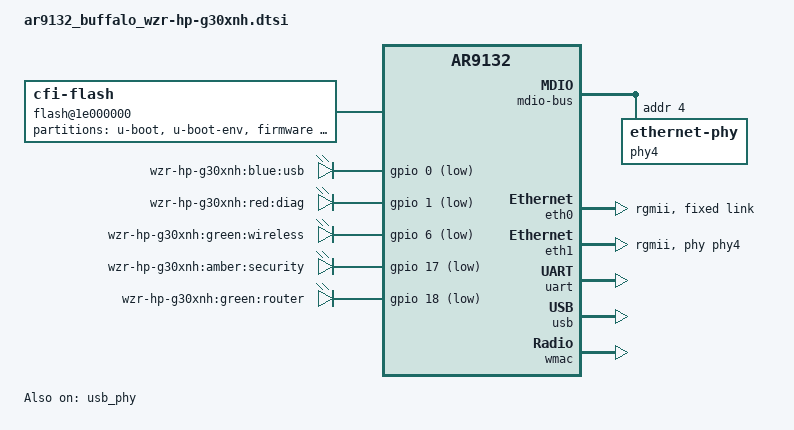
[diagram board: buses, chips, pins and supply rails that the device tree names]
// SPDX-License-Identifier: GPL-2.0
/dts-v1/;

#include <dt-bindings/gpio/gpio.h>
#include <dt-bindings/input/input.h>

#include "ar9132.dtsi"

/ {
	aliases {
		led-boot = &diag;
		led-failsafe = &diag;
		led-upgrade = &diag;
	};

	flash@1e000000 {
		compatible = "cfi-flash";
		reg = <0x1e000000 0x2000000>;
		bank-width = <2>;
		device-width = <2>;

		partitions {
			compatible = "fixed-partitions";
			#address-cells = <1>;
			#size-cells = <1>;

			partition@0 {
				label = "u-boot";
				reg = <0x0000000 0x0040000>;
				read-only;
			};

			partition@40000 {
				label = "u-boot-env";
				reg = <0x0040000 0x0020000>;
			};

			partition@60000 {
				compatible = "denx,uimage";
				label = "firmware";
				reg = <0x0060000 0x1f60000>;
			};

			partition@1fc0000 {
				label = "user_property";
				reg = <0x1fc0000 0x0020000>;
				read-only;
			};

			art: partition@1fe0000 {
				label = "art";
				reg = <0x1fe0000 0x020000>;
				read-only;
			};
		};
	};

	leds {
		compatible = "gpio-leds";

		usb {
			label = "wzr-hp-g30xnh:blue:usb";
			gpios = <&gpio 0 GPIO_ACTIVE_LOW>;
			trigger-sources = <&hub_port>;
			linux,default-trigger = "usbport";
		};

		diag: diag {
			label = "wzr-hp-g30xnh:red:diag";
			gpios = <&gpio 1 GPIO_ACTIVE_LOW>;
		};

		wireless {
			label = "wzr-hp-g30xnh:green:wireless";
			gpios = <&gpio 6 GPIO_ACTIVE_LOW>;
			linux,default-trigger = "phy0tpt";
		};

		security {
			label = "wzr-hp-g30xnh:amber:security";
			gpios = <&gpio 17 GPIO_ACTIVE_LOW>;
		};

		router {
			label = "wzr-hp-g30xnh:green:router";
			gpios = <&gpio 18 GPIO_ACTIVE_LOW>;
		};
	};

	/*
	 * all keys are connected to NXP 74HC153 multiplexer, the driver for it
	 * is not ported to ath79 from ar71xx yet
	 */

	rtl8366: rtl8366 {
		gpio-sda = <&gpio 19 GPIO_ACTIVE_HIGH>;
		gpio-sck = <&gpio 20 GPIO_ACTIVE_HIGH>;

		mdio-bus {
			#address-cells = <1>;
			#size-cells = <0>;
			status = "okay";

			phy-mask = <0x10>;

			phy4: ethernet-phy@4 {
				reg = <4>;
				phy-mode = "rgmii";
			};
		};
	};
};

&eth0 {
	status = "okay";

	phy-mode = "rgmii";
	mtd-mac-address = <&art 0x1120c>;

	fixed-link {
		speed = <1000>;
		full-duplex;
	};
};

&eth1 {
	status = "okay";

	phy-mode = "rgmii";
	mtd-mac-address = <&art 0x1120c>;
	mtd-mac-address-increment = <1>;

	phy-handle = <&phy4>;
};

&uart {
	status = "okay";
};

&usb {
	#address-cells = <1>;
	#size-cells = <0>;
	status = "okay";

	hub_port: port@1 {
		reg = <1>;
		#trigger-source-cells = <0>;
	};
};

&usb_phy {
	status = "okay";
};

&wmac {
	status = "okay";
	mtd-cal-data = <&art 0x11000>;
	mtd-mac-address = <&art 0x1120c>;
};
